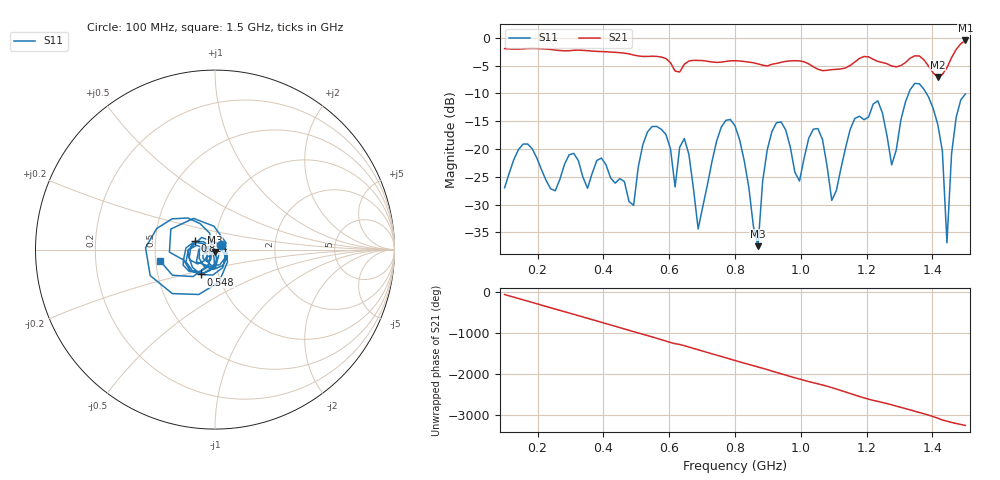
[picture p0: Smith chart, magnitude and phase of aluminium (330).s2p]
! NanoVNA-App
! Date: 2025-09-25 14:57:51
! Start: 100MHz Stop: 1,5GHz Points: 101
! S-Parameter data: F S11 S21 S12 S22
# Hz S RI R 50
!  Frequency  S11_Real  S11_Imag  S21_Real  S21_Imag  S12_Real  S12_Imag  S22_Real  S22_Imag
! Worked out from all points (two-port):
!   101 points, 100 MHz to 1.5 GHz, reference 50 ohm
!   highest |S21| = -0.46 dB at 1.5 GHz (marker M1); lowest = -7.0 dB at 1.416 GHz (marker M2)
!   |S21| within 3 dB of the highest: start of sweep to 576.8 MHz; 1.459 GHz to end of sweep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
!   lowest |S11| = -37.5 dB at 870 MHz (marker M3), VSWR 1.03, Z = 49.9 - j1.33 ohm
!   |S11| at or under -10 dB: start of sweep to 1.328 GHz; 1.382 GHz to end of sweep
!   S12 and S22 are empty: the file has one direction only
!   S11 on the Smith chart (normalised r, x): 100 MHz: 1.07, +0.06; 548 MHz: 0.82, -0.23; 814 MHz: 0.80, +0.07; 1.5 GHz: 0.53, -0.07
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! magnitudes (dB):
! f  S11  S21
! 100 MHz  -27.0  -1.9
! 338 MHz  -25.1  -2.2
! 492 MHz  -30.1  -3.1
! 548 MHz  -15.9  -3.3
! 576 MHz  -16.4  -3.4
! 618 MHz  -26.8  -6.0
! 646 MHz  -18.1  -4.7
! 688 MHz  -34.4  -4.1
! 800 MHz  -15.8  -4.1
! 814 MHz  -18.3  -4.2
! 870 MHz  -37.5  -4.7
! 912 MHz  -16.9  -4.8
! 996 MHz  -25.7  -4.1
! 1.038 GHz  -16.4  -5.2
! 1.094 GHz  -29.2  -5.7
! 1.234 GHz  -11.3  -4.2
! 1.276 GHz  -22.9  -5.1
! 1.346 GHz  -8.2  -3.2
! 1.416 GHz  -15.5  -7.0
! 1.444 GHz  -36.9  -5.4
! 1.458 GHz  -20.8  -3.6
! 1.5 GHz  -10.1  -0.5
